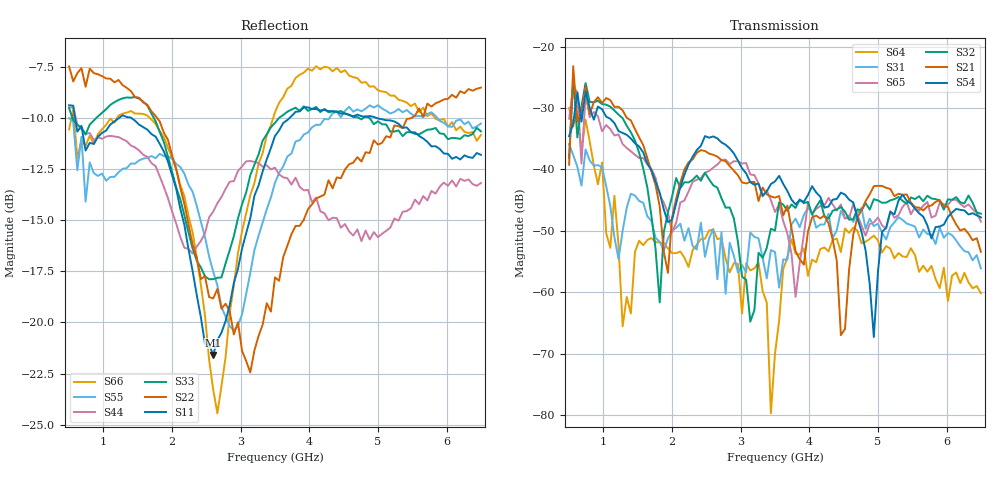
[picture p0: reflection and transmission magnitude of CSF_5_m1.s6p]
!Keysight Technologies,M9804A,MY58100912,A.14.10.03
!Date: Thursday, April 27, 2023 10:28:33
!Correction: S11(C  6-Port  )
!S12(C  6-Port  )
!S13(C  6-Port  )
!S14(C  6-Port  )
!S15(C  6-Port  )
!S16(C  6-Port  )
!S21(C  6-Port  )
!S22(C  6-Port  )
!S23(C  6-Port  )
!S24(C  6-Port  )
!S25(C  6-Port  )
!S26(C  6-Port  )
!S31(C  6-Port  )
!S32(C  6-Port  )
!S33(C  6-Port  )
!S34(C  6-Port  )
!S35(C  6-Port  )
!S36(C  6-Port  )
!S41(C  6-Port  )
!S42(C  6-Port  )
!S43(C  6-Port  )
!S44(C  6-Port  )
!S45(C  6-Port  )
!S46(C  6-Port  )
!S51(C  6-Port  )
!S52(C  6-Port  )
!S53(C  6-Port  )
!S54(C  6-Port  )
!S55(C  6-Port  )
!S56(C  6-Port  )
!S61(C  6-Port  )
!S62(C  6-Port  )
!S63(C  6-Port  )
!S64(C  6-Port  )
!S65(C  6-Port  )
!S66(C  6-Port  )
!S6P File: Measurement: :
# Hz S  RI  R 50
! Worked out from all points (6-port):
!   101 points, 500 MHz to 6.5 GHz, reference 50 ohm
!   strongest paths, dB at 500 MHz, 2 GHz, 3.5 GHz, 5 GHz, 6.5 GHz:
!     S54: -34.6, -48.2, -42.0, -56.7, -47.8
!     S21: -39.2, -47.8, -44.6, -42.7, -53.4
!     S32: -38.1, -44.4, -49.9, -45.0, -47.2
!     S65: -31.7, -50.3, -46.9, -47.8, -48.5
!     S31: -35.9, -50.0, -53.4, -48.8, -56.1
!     S64: -30.0, -53.6, -70.0, -51.5, -60.2
!   lowest |S11| = -21.6 dB at 2.6 GHz (marker M1), VSWR 1.18, Z = 42.6 + j2.06 ohm
!   |S11| at or under -10 dB: 587.8 MHz to 1.233 GHz (645.1 MHz wide, 70.9 % of centre); 1.402 GHz to 3.716 GHz (2.314 GHz wide, 90.4 % of centre); 4.971 GHz to end of sweep
